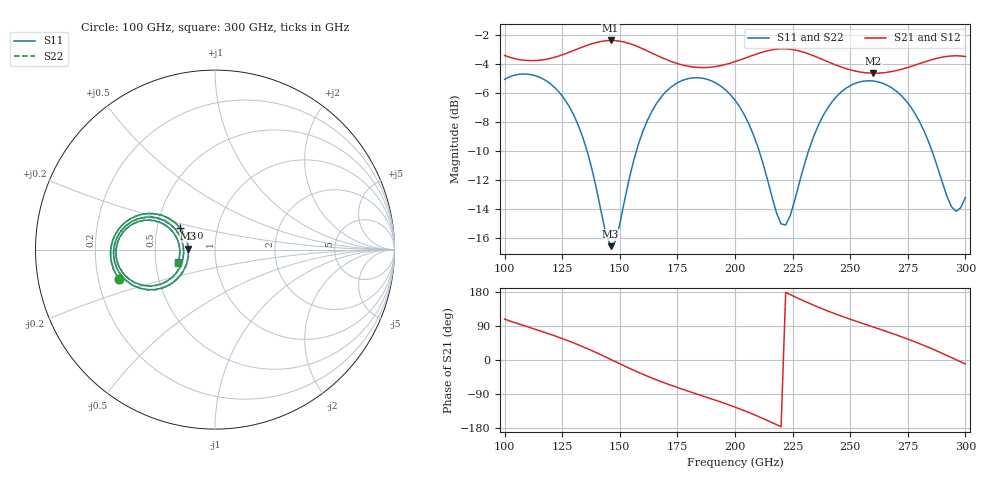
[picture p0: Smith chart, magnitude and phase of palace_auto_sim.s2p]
#  GHZ S DB R 50
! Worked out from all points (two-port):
!   101 points, 100 GHz to 300 GHz, reference 50 ohm
!   highest |S21| = -2.37 dB at 146 GHz (marker M1); lowest = -4.6 dB at 260 GHz (marker M2)
!   |S21| within 3 dB of the highest: start of sweep to end of sweep
!   lowest |S11| = -16.6 dB at 146 GHz (marker M3), VSWR 1.35, Z = 37.1 + j0.427 ohm
!   |S11| at or under -10 dB: 135.8 GHz to 157.2 GHz (21.46 GHz wide, 14.6 % of centre); 210.5 GHz to 231.9 GHz (21.46 GHz wide, 9.7 % of centre); 285.5 GHz to end of sweep
!   |S22| runs from -16.6 to -4.7 dB; largest |S21 - S12| = 7.5e-14
!   S11 on the Smith chart (normalised r, x): 100 GHz: 0.29, -0.14; 140 GHz: 0.66, +0.17; 300 GHz: 0.65, -0.10
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100  -5.06 -163.0  -3.41 107.7  -3.41 107.7  -5.06 -163.0
108  -4.69 -175.7  -3.73 91.5  -3.73 91.5  -4.69 -175.7
116  -4.97 172.0  -3.72 75.6  -3.72 75.6  -4.98 171.9
126  -6.42 156.9  -3.31 54.4  -3.31 54.4  -6.43 156.9
134  -9.09 147.1  -2.82 35.0  -2.82 35.0  -9.10 147.0
140  -12.72 147.9  -2.50 18.8  -2.50 18.8  -12.75 147.8
146  -16.58 177.8  -2.37 1.7  -2.37 1.7  -16.64 177.9
148  -16.27 -165.8  -2.38 -4.2  -2.38 -4.2  -16.33 -165.6
158  -9.58 -142.7  -2.81 -32.4  -2.81 -32.4  -9.59 -142.4
168  -6.27 -154.8  -3.54 -57.2  -3.54 -57.2  -6.27 -154.6
184  -4.95 -178.3  -4.24 -90.9  -4.24 -90.9  -4.95 -178.1
200  -6.50 159.4  -3.84 -124.3  -3.84 -124.3  -6.49 159.6
210  -9.77 150.2  -3.28 -148.7  -3.28 -148.7  -9.76 150.4
220  -15.04 174.4  -2.95 -176.2  -2.95 -176.2  -15.00 174.6
224  -14.46 -162.0  -2.98 172.4  -2.98 172.4  -14.43 -161.9
234  -9.06 -147.3  -3.42 145.0  -3.42 145.0  -9.05 -147.3
246  -5.94 -160.8  -4.20 116.3  -4.20 116.3  -5.94 -160.7
260  -5.17 -179.9  -4.63 87.0  -4.63 87.0  -5.17 -179.8
268  -5.64 169.4  -4.52 70.5  -4.52 70.5  -5.64 169.6
284  -9.36 153.6  -3.77 33.4  -3.77 33.4  -9.36 153.7
294  -13.87 171.6  -3.44 6.4  -3.44 6.4  -13.86 171.7
300  -13.22 -160.9  -3.48 -10.5  -3.48 -10.5  -13.21 -160.8
